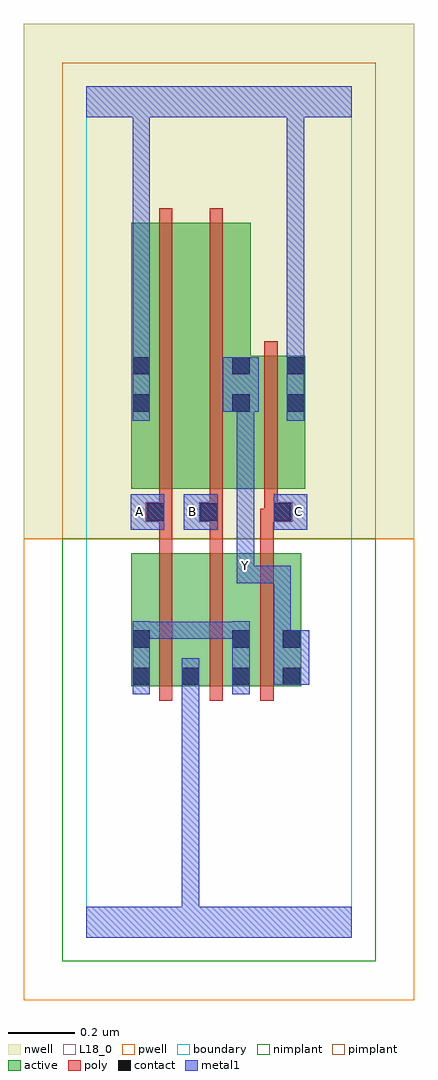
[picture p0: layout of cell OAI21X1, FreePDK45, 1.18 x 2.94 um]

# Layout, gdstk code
import gdstk
lib = gdstk.Library(unit=1e-6, precision=1e-09)
def R(c, l, rs):  # rectangles x0, y0, x1, y1
    for r in rs: c.add(gdstk.rectangle(r[:2], r[2:], *l))
def A(c, l, x, y, w, h, nx, ny, dx, dy):  # array of equal rectangles
    R(c, l, [(x+i*dx, y+j*dy, x+i*dx+w, y+j*dy+h) for i in range(nx) for j in range(ny)])
active = (1, 0)
pwell = (2, 0)
nwell = (3, 0)
nimplant = (4, 0)
pimplant = (5, 0)
poly = (9, 0)
contact = (10, 0)
metal1 = (11, 0)
L18_0 = (18, 0)
boundary = (235, 0)

oai21x1 = lib.new_cell('OAI21X1')
R(oai21x1, active, [(0.136,0.756,0.196,1.156), (0.136,0.756,0.344,1.156), (0.284,0.756,0.496,1.156), (0.284,0.756,0.344,0.816), (0.436,0.756,0.648,1.156), (0.436,0.756,0.496,0.928), (0.588,0.756,0.648,1.156), (0.136,1.35,0.316,2.15), (0.136,1.35,0.196,2.044), (0.316,1.35,0.496,2.15), (0.436,1.35,0.496,1.75), (0.436,1.35,0.66,1.75), (0.6,1.35,0.66,1.75)])
R(oai21x1, pwell, [(-0.188,-0.188,0.988,1.2)])
R(oai21x1, nwell, [(-0.188,1.2,0.988,2.748)])
R(oai21x1, nimplant, [(-0.072,-0.072,0.872,1.2)])
R(oai21x1, pimplant, [(-0.072,1.2,0.872,2.632)])
A(oai21x1, poly, 0.22, 0.712, 0.04, 0.488, 3, 1, 0.152, 0)
A(oai21x1, poly, 0.22, 1.16, 0.04, 0.13, 3, 1, 0.152, 0)
R(oai21x1, poly, [(0.18,1.25,0.26,1.31), (0.22,1.25,0.26,1.29), (0.22,1.25,0.26,1.29), (0.34,1.25,0.412,1.31), (0.524,1.25,0.576,1.29), (0.536,1.25,0.576,1.29), (0.536,1.25,0.62,1.31), (0.22,1.27,0.26,1.346), (0.372,1.27,0.412,1.346), (0.372,1.27,0.412,1.31), (0.372,1.27,0.412,1.31), (0.536,1.27,0.576,1.346), (0.22,1.306,0.26,2.194), (0.372,1.306,0.412,2.194), (0.536,1.306,0.576,1.794)])
A(oai21x1, contact, 0.288, 0.76, 0.052, 0.052, 3, 1, 0.152, 0)
R(oai21x1, contact, [(0.14,0.76,0.192,0.812), (0.14,0.872,0.192,0.924), (0.44,0.872,0.492,0.924), (0.592,0.872,0.644,0.924), (0.184,1.254,0.236,1.306), (0.344,1.254,0.396,1.306), (0.564,1.254,0.616,1.306), (0.14,1.582,0.192,1.634), (0.44,1.582,0.492,1.634), (0.604,1.582,0.656,1.634), (0.14,1.694,0.192,1.746), (0.44,1.694,0.492,1.746), (0.604,1.694,0.656,1.746)])
R(oai21x1, metal1, [(0,0,0.8,0.092), (0.288,0.04,0.34,0.092), (0.288,0.04,0.34,0.092), (0.288,0.04,0.34,0.092), (0.288,0.04,0.34,0.092), (0.288,0.04,0.34,0.092), (0.288,0.04,0.34,0.092), (0.288,0.04,0.34,0.092), (0.288,0.04,0.34,0.092), (0.288,0.04,0.34,0.092), (0.288,0.04,0.34,0.092), (0.288,0.04,0.34,0.784), (0.14,0.732,0.192,0.952), (0.288,0.732,0.34,0.784), (0.288,0.732,0.34,0.784), (0.288,0.732,0.34,0.84), (0.44,0.732,0.492,0.952), (0.564,0.76,0.672,0.924), (0.564,0.872,0.616,1.118), (0.14,0.898,0.192,0.95), (0.14,0.898,0.192,0.95), (0.14,0.898,0.354,0.95), (0.302,0.898,0.354,0.95), (0.302,0.898,0.354,0.95), (0.302,0.898,0.354,0.95), (0.302,0.898,0.492,0.95), (0.454,1.066,0.506,1.118), (0.454,1.066,0.506,1.118), (0.454,1.066,0.616,1.118), (0.454,1.066,0.506,1.174), (0.564,1.066,0.616,1.118), (0.454,1.122,0.506,1.634), (0.134,1.226,0.236,1.334), (0.294,1.226,0.396,1.334), (0.564,1.226,0.666,1.334), (0.14,1.554,0.192,1.774), (0.604,1.554,0.656,1.774), (0.412,1.582,0.52,1.746), (0.454,1.582,0.506,1.634), (0.454,1.582,0.506,1.634), (0.14,1.722,0.192,2.52), (0.14,1.722,0.192,1.774), (0.14,1.722,0.192,1.774), (0.14,1.722,0.192,1.774), (0.14,1.722,0.192,1.774), (0.14,1.722,0.192,1.774), (0.14,1.722,0.192,1.774), (0.604,1.722,0.656,2.52), (0.604,1.722,0.656,1.774), (0.604,1.722,0.656,1.774), (0.604,1.722,0.656,1.774), (0.604,1.722,0.656,1.774), (0.604,1.722,0.656,1.774), (0.604,1.722,0.656,1.774), (0.604,1.722,0.656,1.774), (0.604,1.722,0.656,1.774), (0.604,1.722,0.656,1.774), (0.604,1.722,0.656,1.774), (0.604,1.722,0.656,1.774), (0.604,1.722,0.656,1.774), (0.604,1.722,0.656,1.774), (0.604,1.722,0.656,1.774), (0,2.468,0.8,2.56), (0.14,2.468,0.192,2.52), (0.14,2.468,0.192,2.52), (0.604,2.468,0.656,2.52), (0.604,2.468,0.656,2.52)])
R(oai21x1, L18_0, [(0,0,0.8,0.092), (0.288,0.04,0.34,0.092), (0.288,0.04,0.34,0.092), (0.288,0.04,0.34,0.092), (0.288,0.04,0.34,0.092), (0.288,0.04,0.34,0.092), (0.288,0.04,0.34,0.092), (0.288,0.04,0.34,0.092), (0.288,0.04,0.34,0.092), (0.288,0.04,0.34,0.092), (0.288,0.04,0.34,0.092), (0.288,0.04,0.34,0.784), (0.288,0.732,0.34,0.784), (0.288,0.732,0.34,0.784), (0.288,0.732,0.34,0.84), (0.564,0.76,0.672,0.924), (0.564,0.872,0.616,1.118), (0.454,1.066,0.506,1.118), (0.454,1.066,0.506,1.118), (0.454,1.066,0.506,1.174), (0.454,1.066,0.616,1.118), (0.564,1.066,0.616,1.118), (0.454,1.094,0.506,1.146), (0.454,1.122,0.506,1.634), (0.134,1.226,0.236,1.334), (0.294,1.226,0.396,1.334), (0.564,1.226,0.666,1.334), (0.134,1.254,0.186,1.306), (0.294,1.254,0.346,1.306), (0.614,1.254,0.666,1.306), (0.14,1.554,0.192,1.774), (0.604,1.554,0.656,1.774), (0.412,1.582,0.52,1.746), (0.454,1.582,0.506,1.634), (0.454,1.582,0.506,1.634), (0.14,1.722,0.192,1.774), (0.14,1.722,0.192,1.774), (0.14,1.722,0.192,1.774), (0.14,1.722,0.192,1.774), (0.14,1.722,0.192,1.774), (0.14,1.722,0.192,1.774), (0.14,1.722,0.192,2.52), (0.604,1.722,0.656,1.774), (0.604,1.722,0.656,1.774), (0.604,1.722,0.656,1.774), (0.604,1.722,0.656,1.774), (0.604,1.722,0.656,1.774), (0.604,1.722,0.656,1.774), (0.604,1.722,0.656,1.774), (0.604,1.722,0.656,1.774), (0.604,1.722,0.656,1.774), (0.604,1.722,0.656,1.774), (0.604,1.722,0.656,1.774), (0.604,1.722,0.656,1.774), (0.604,1.722,0.656,1.774), (0.604,1.722,0.656,1.774), (0.604,1.722,0.656,2.52), (0,2.468,0.8,2.56), (0.14,2.468,0.192,2.52), (0.14,2.468,0.192,2.52), (0.604,2.468,0.656,2.52), (0.604,2.468,0.656,2.52)])
R(oai21x1, boundary, [(0,0,0.8,2.56)])
oai21x1.add(gdstk.Label('A', (0.16,1.28), layer=11, texttype=0))
oai21x1.add(gdstk.Label('B', (0.32,1.28), layer=11, texttype=0))
oai21x1.add(gdstk.Label('C', (0.64,1.28), layer=11, texttype=0))
oai21x1.add(gdstk.Label('Y', (0.48,1.12), layer=11, texttype=0))

lib.write_gds('OAI21X1.gds')
